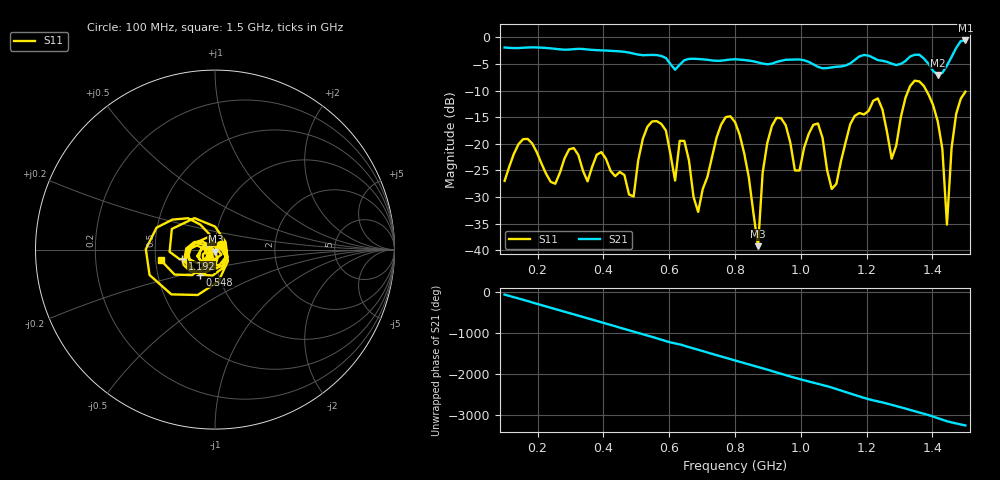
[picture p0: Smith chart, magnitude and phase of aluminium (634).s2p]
! NanoVNA-App
! Date: 2025-09-25 15:00:13
! Start: 100MHz Stop: 1,5GHz Points: 101
! S-Parameter data: F S11 S21 S12 S22
# Hz S RI R 50
!  Frequency  S11_Real  S11_Imag  S21_Real  S21_Imag  S12_Real  S12_Imag  S22_Real  S22_Imag
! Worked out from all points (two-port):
!   101 points, 100 MHz to 1.5 GHz, reference 50 ohm
!   highest |S21| = -0.60 dB at 1.5 GHz (marker M1); lowest = -7.1 dB at 1.416 GHz (marker M2)
!   |S21| within 3 dB of the highest: start of sweep to 579 MHz; 1.178 GHz to 1.211 GHz (33 MHz wide, 2.76 % of centre) (the widest 2 of 4)
!   lowest |S11| = -39.2 dB at 870 MHz (marker M3), VSWR 1.02, Z = 50.2 - j1.08 ohm
!   |S11| at or under -10 dB: start of sweep to 1.327 GHz; 1.381 GHz to end of sweep
!   S12 and S22 are empty: the file has one direction only
!   S11 on the Smith chart (normalised r, x): 100 MHz: 1.07, +0.06; 548 MHz: 0.82, -0.23; 1.192 GHz: 0.69, -0.07; 1.5 GHz: 0.53, -0.07
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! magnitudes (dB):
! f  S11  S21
! 100 MHz  -27.0  -1.9
! 156 MHz  -19.1  -2.0
! 338 MHz  -25.1  -2.2
! 492 MHz  -29.9  -3.1
! 548 MHz  -15.8  -3.3
! 576 MHz  -16.3  -3.5
! 646 MHz  -19.5  -4.3
! 688 MHz  -32.8  -4.1
! 800 MHz  -15.9  -4.1
! 870 MHz  -39.2  -4.7
! 912 MHz  -16.7  -5.0
! 996 MHz  -25.0  -4.2
! 1.038 GHz  -16.4  -5.1
! 1.094 GHz  -28.5  -5.7
! 1.192 GHz  -14.5  -3.3
! 1.234 GHz  -11.5  -4.3
! 1.276 GHz  -22.8  -5.0
! 1.346 GHz  -8.2  -3.3
! 1.416 GHz  -15.8  -7.1
! 1.444 GHz  -35.2  -5.3
! 1.472 GHz  -14.4  -2.0
! 1.5 GHz  -10.2  -0.6
